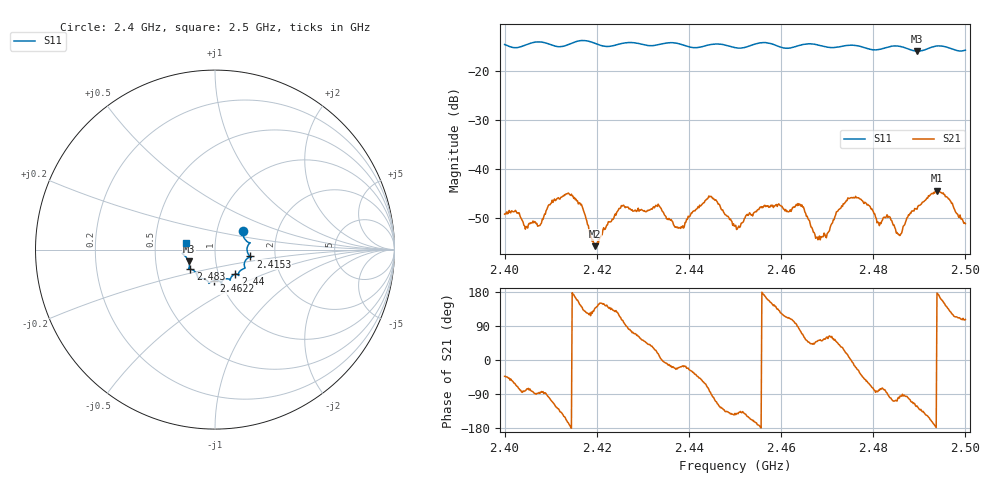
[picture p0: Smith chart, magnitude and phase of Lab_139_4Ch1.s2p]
# Hz S RI R 50
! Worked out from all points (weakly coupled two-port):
!   601 points, 2.4 GHz to 2.5 GHz, reference 50 ohm
!   highest |S21| = -44.48 dB at 2.4938 GHz (marker M1); lowest = -55.8 dB at 2.4197 GHz (marker M2)
!   lowest |S11| = -15.9 dB at 2.4895 GHz (marker M3), VSWR 1.38, Z = 36.9 - j4.98 ohm
!   |S11| at or under -10 dB: start of sweep to end of sweep
!   S12 and S22 are empty: the file has one direction only
!   S11 on the Smith chart (normalised r, x): 2.4 GHz: 1.33, +0.29; 2.4153 GHz: 1.48, -0.12; 2.44 GHz: 1.20, -0.34; 2.4622 GHz: 0.93, -0.33; 2.483 GHz: 0.74, -0.17; 2.5 GHz: 0.72, +0.06
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2.4e9  0.1549 0.1064  0.00251 -0.00235  0 0  0 0
2.4075e9  0.1962 0.0381  0.000202 -0.00261  0 0  0 0
2.410833e9  0.1811 0.0158  -0.00228 -0.00436  0 0  0 0
2.415333e9  0.1964 -0.0384  -0.00467 0.00123  0 0  0 0
2.416667e9  0.202 -0.0424  -0.00336 0.00274  0 0  0 0
2.419667e9  0.1877 -0.0443  -0.00119 0.00109  0 0  0 0
2.425333e9  0.1656 -0.0976  -0.00125 0.00402  0 0  0 0
2.433333e9  0.1312 -0.1336  0.00417 0.00124  0 0  0 0
2.4375e9  0.1309 -0.1419  0.00233 -0.001  0 0  0 0
2.44e9  0.1137 -0.1368  0.00293 -0.00138  0 0  0 0
2.444833e9  0.0847 -0.168  -4.74e-05 -0.00522  0 0  0 0
2.45e9  0.0645 -0.1625  -0.00204 -0.00166  0 0  0 0
2.462167e9  -0.00741 -0.1738  -0.00111 0.00349  0 0  0 0
2.466667e9  -0.0342 -0.1876  0.00184 0.00171  0 0  0 0
2.47e9  -0.0477 -0.17  0.00106 0.00189  0 0  0 0
2.475667e9  -0.0935 -0.1593  0.00505 -0.000735  0 0  0 0
2.483e9  -0.1377 -0.1096  0.000186 -0.00338  0 0  0 0
2.483333e9  -0.1402 -0.1095  -0.000235 -0.00325  0 0  0 0
2.485667e9  -0.146 -0.1057  -0.000381 -0.00205  0 0  0 0
2.4895e9  -0.1464 -0.0657  -0.00201 -0.00329  0 0  0 0
2.493833e9  -0.1801 -0.0236  -0.00596 0.000348  0 0  0 0
2.5e9  -0.1597 0.0393  -0.000794 0.00263  0 0  0 0
